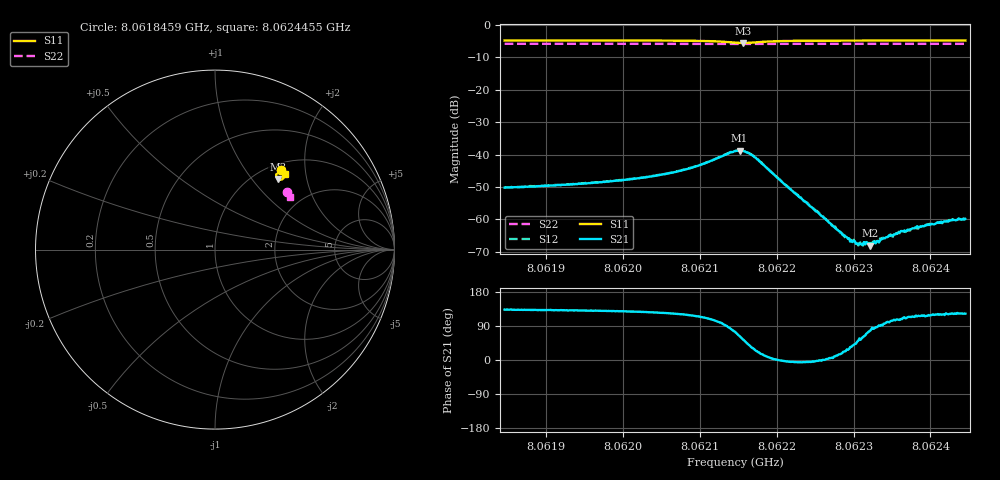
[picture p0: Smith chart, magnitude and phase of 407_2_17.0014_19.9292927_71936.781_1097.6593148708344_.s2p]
#  HZ  S  RI  R  50.00
! Rohde & Schwarz Vector Network Analyzer
! Rohde-Schwarz,ZNB20-2Port,1311601062101988,3.16
! Created: UTC 3/20/2024, 11:10:17 PM
! freq[Hz]  re:S11  im:S11  re:S21  im:S21  re:S12  im:S12  re:S22  im:S22
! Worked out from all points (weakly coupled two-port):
!   401 points, 8.0618459 GHz to 8.0624455 GHz, reference 50 ohm
!   highest |S21| = -38.77 dB at 8.0621517 GHz (marker M1); lowest = -68.1 dB at 8.0623211 GHz (marker M2)
!   lowest |S11| = -5.6 dB at 8.0621562 GHz (marker M3), VSWR 3.23, Z = 62.4 + j68.1 ohm
!   |S11| at or under -10 dB: nowhere
!   |S22| runs from -5.9 to -5.8 dB; largest |S21 - S12| = 0.00083
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8.06184595e9  0.3672 0.4439  -0.0021 0.00225  -0.00199 0.00241  0.399 0.3208
8.06194637e9  0.3742 0.4376  -0.00231 0.00269  -0.00217 0.00287  0.4027 0.3158
8.06199733e9  0.3783 0.4335  -0.00249 0.00314  -0.00233 0.00329  0.4046 0.3132
8.06204679e9  0.3825 0.4279  -0.00273 0.00396  -0.00252 0.00414  0.4064 0.3105
8.06209325e9  0.3866 0.4174  -0.00285 0.0058  -0.00254 0.00601  0.408 0.3078
8.06214571e9  0.3653 0.3892  0.00307 0.0109  0.00376 0.0106  0.4084 0.3043
8.0621517e9  0.356 0.3906  0.00519 0.0103  0.00587 0.00999  0.4084 0.3042
8.0621562e9  0.3494 0.3942  0.00662 0.00921  0.0072 0.00883  0.4081 0.3043
8.06216369e9  0.3422 0.4043  0.00805 0.00669  0.00853 0.00626  0.4083 0.3046
8.06217269e9  0.3412 0.4171  0.00816 0.00374  0.00816 0.00333  0.4088 0.3046
8.06221016e9  0.3614 0.4354  0.00346 -0.000172  0.00352 -0.000393  0.4112 0.3035
8.06224613e9  0.372 0.4346  0.00151 -9.82e-05  0.00154 -0.00023  0.4128 0.3014
8.06228809e9  0.379 0.4318  0.000522 0.000217  0.00051 0.000171  0.4146 0.2993
8.06229559e9  0.3801 0.4311  0.000375 0.000255  0.000439 0.00022  0.4148 0.2987
8.06230458e9  0.381 0.4306  0.000279 0.000312  0.000317 0.000282  0.4151 0.2985
8.06232107e9  0.3827 0.4295  9.15e-05 0.000383  0.000129 0.00041  0.4158 0.2976
8.06233156e9  0.3836 0.4288  1.21e-05 0.000466  6e-05 0.000472  0.4161 0.2971
8.06234655e9  0.3851 0.4279  -9.49e-05 0.000563  -7.55e-05 0.000559  0.4166 0.2963
8.06238402e9  0.3881 0.4256  -0.000346 0.000684  -0.00027 0.000666  0.418 0.2942
8.06239601e9  0.389 0.4249  -0.000372 0.000746  -0.00034 0.000741  0.4184 0.2936
8.06242598e9  0.3912 0.4231  -0.000503 0.000818  -0.00048 0.000847  0.4194 0.292
8.06244547e9  0.3925 0.422  -0.000542 0.000858  -0.000527 0.000899  0.42 0.291
